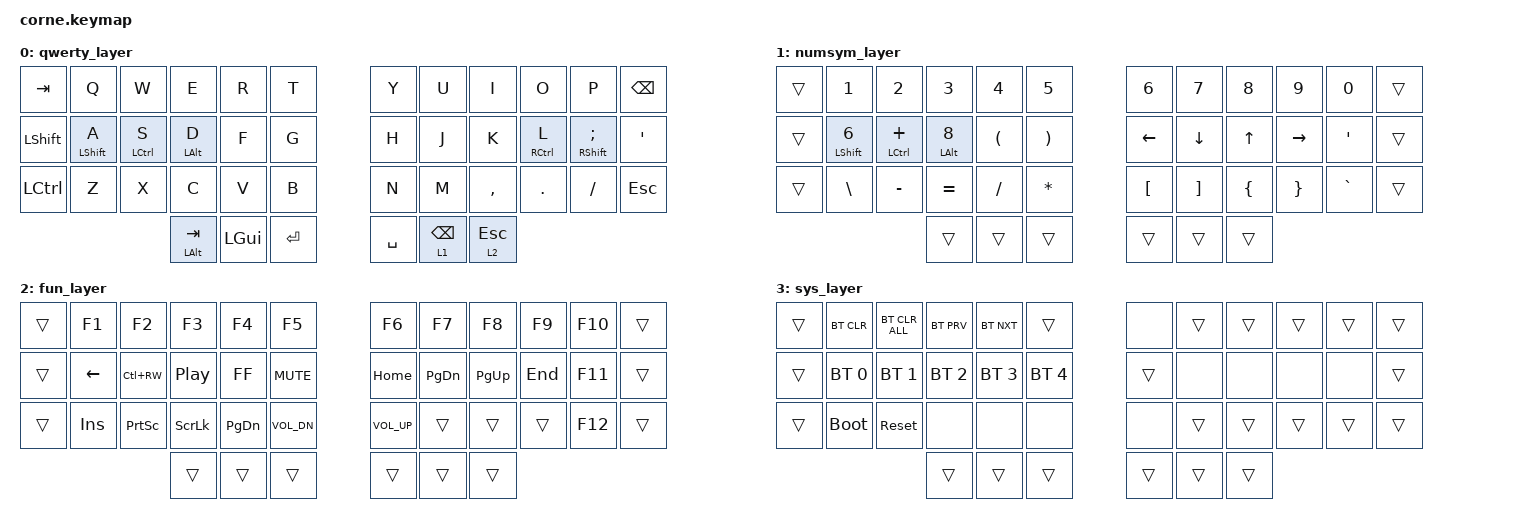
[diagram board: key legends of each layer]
#include <behaviors.dtsi>
#include <dt-bindings/zmk/bt.h>
#include <dt-bindings/zmk/keys.h>

&mt {
    tapping-term-ms = <300>;
    quick-tap-ms = <175>;
    require-prior-idle-ms = <150>;
    flavor = "balanced";
};

&caps_word { continue-list = <UNDERSCORE MINUS>; };

&lt { tapping-term-ms = <200>; };

/ {

behaviors {
    hml: homerow_mods_left {
        compatible = "zmk,behavior-hold-tap";
        #binding-cells = <2>;
        label = "HOMEROW_MODS_LEFT_HAND";
        bindings = <&kp>, <&kp>;

        flavor = "balanced";
        tapping-term-ms = <200>;
        quick-tap-ms = <0>;
        hold-trigger-key-positions = <30 18 6 7 8 9 10 11 18 19 20 21 22 23 30 31 32 33 34 35 41 39 40>;
    };

    hmr: homerow_mods_right {
        compatible = "zmk,behavior-hold-tap";
        #binding-cells = <2>;
        label = "HOMEROW_MODS_RIGHT_HAND";
        bindings = <&kp>, <&kp>;

        tapping-term-ms = <200>;
        quick-tap-ms = <0>;
        flavor = "balanced";
        hold-trigger-key-positions = <0 1 2 3 4 5 12 13 14 15 16 17 24 25 26 27 28 29 36 37 38>;
    };

};
    combos {
        compatible = "zmk,combos";

        combo_esc {
            timeout-ms = <50>;
            key-positions = <1 2>;
            bindings = <&kp ESCAPE>;
        };

        combo_bksp {
            timeout-ms = <50>;
            key-positions = <10 9>;
            bindings = <&kp BACKSPACE>;
        };

        combo_tab {
            bindings = <&kp TAB>;
            key-positions = <13 14>;
        };

        combo_shift {
            bindings = <&kp LEFT_SHIFT>;
            key-positions = <25 26 27>;
        };

        combo_delete {
            bindings = <&kp DELETE>;
            key-positions = <21 22>;
        };

        combo_rshift {
            bindings = <&kp RIGHT_SHIFT>;
            key-positions = <33 34 32>;
        };

        exclm {
            bindings = <&kp EXCLAMATION>;
            key-positions = <1 13>;
        };

        at {
            bindings = <&kp AT_SIGN>;
            key-positions = <2 14>;
        };

        hash {
            bindings = <&kp HASH>;
            key-positions = <3 15>;
        };

        dllr {
            bindings = <&kp DOLLAR>;
            key-positions = <4 16>;
        };

        percnt {
            bindings = <&kp PERCENT>;
            key-positions = <5 17>;
        };

        caret {
            bindings = <&kp CARET>;
            key-positions = <6 18>;
        };

        and {
            bindings = <&kp AMPERSAND>;
            key-positions = <7 19>;
        };

        str {
            bindings = <&kp ASTERISK>;
            key-positions = <8 20>;
        };

        leftparen {
            bindings = <&kp LPAR>;
            key-positions = <9 21>;
        };

        rparen {
            bindings = <&kp RPAR>;
            key-positions = <10 22>;
        };

        layout_switch {
            bindings = <&tog 4>;
            key-positions = <36 37 40 41>;
        };

        system_reset {
            bindings = <&sys_reset>;
            key-positions = <3 4 5 14>;
        };

        bootloader {
            bindings = <&bootloader>;
            key-positions = <15 16 17 26>;
        };

        system_layer_combo {
            bindings = <&mo 3>;
            key-positions = <36 37 38>;
        };

        caps_words_combo {
            bindings = <&caps_word>;
            key-positions = <17 18>;
        };
    };

    behaviors {
    };

    keymap {
        compatible = "zmk,keymap";

        qwerty_layer {
            bindings = <
&kp TAB     &kp Q              &kp W                &kp E             &kp R         &kp T        &kp Y      &kp U            &kp I      &kp O                 &kp P            &kp BACKSPACE
&kp LSHIFT  &hml LEFT_SHIFT A  &hml LEFT_CONTROL S  &hml LEFT_ALT D   &kp F         &kp G        &kp H      &kp J            &kp K      &hmr RIGHT_CONTROL L  &hmr RSHFT SEMI  &kp SINGLE_QUOTE
&kp LCTRL   &kp Z              &kp X                &kp C             &kp V         &kp B        &kp N      &kp M            &kp COMMA  &kp DOT               &kp FSLH         &kp ESC
                                                    &mt LEFT_ALT TAB  &kp LEFT_GUI  &kp ENTER    &kp SPACE  &lt 1 BACKSPACE  &lt 2 ESC
            >;
        };

        numsym_layer {
            bindings = <
&trans  &kp N1                    &kp N2                  &kp N3            &kp N4                &kp N5                   &kp N6            &kp N7             &kp N8          &kp N9           &kp N0     &trans
&trans  &hml LEFT_SHIFT NUMBER_6  &hml LEFT_CONTROL PLUS  &hml LEFT_ALT N8  &kp LEFT_PARENTHESIS  &kp RIGHT_PARENTHESIS    &kp LEFT          &kp DOWN           &kp UP          &kp RIGHT        &kp SQT    &trans
&trans  &kp BACKSLASH             &kp MINUS               &kp EQUAL         &kp SLASH             &kp ASTERISK             &kp LEFT_BRACKET  &kp RIGHT_BRACKET  &kp LEFT_BRACE  &kp RIGHT_BRACE  &kp GRAVE  &trans
                                                          &trans            &trans                &trans                   &trans            &trans             &trans
            >;
        };

        fun_layer {
            bindings = <
&trans  &kp F1    &kp F2           &kp F3            &kp F4         &kp F5          &kp F6        &kp F7         &kp F8       &kp F9   &kp F10  &trans
&trans  &kp LEFT  &kp LC(C_RW)     &kp C_PLAY_PAUSE  &kp C_FF       &kp C_MUTE      &kp HOME      &kp PAGE_DOWN  &kp PAGE_UP  &kp END  &kp F11  &trans
&trans  &kp INS   &kp PRINTSCREEN  &kp SCROLLLOCK    &kp PAGE_DOWN  &kp C_VOL_DN    &kp C_VOL_UP  &trans         &trans       &trans   &kp F12  &trans
                                   &trans            &trans         &trans          &trans        &trans         &trans
            >;
        };

        sys_layer {
            bindings = <
&trans  &bt BT_CLR    &bt BT_CLR_ALL  &bt BT_PRV    &bt BT_NXT    &trans          &none   &trans  &trans  &trans  &trans  &trans
&trans  &bt BT_SEL 0  &bt BT_SEL 1    &bt BT_SEL 2  &bt BT_SEL 3  &bt BT_SEL 4    &trans  &none   &none   &none   &none   &trans
&trans  &bootloader   &sys_reset      &none         &none         &none           &none   &trans  &trans  &trans  &trans  &trans
                                      &trans        &trans        &trans          &trans  &trans  &trans
            >;
        };
    };
};
